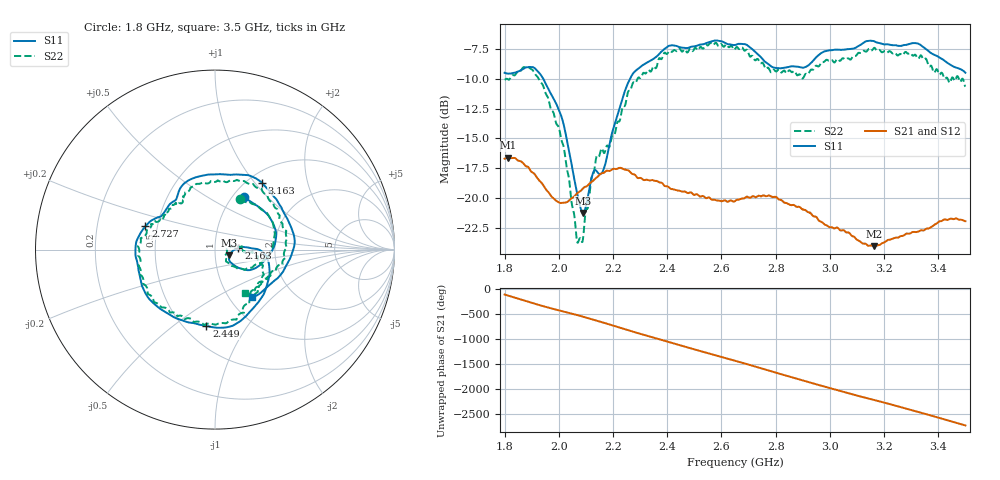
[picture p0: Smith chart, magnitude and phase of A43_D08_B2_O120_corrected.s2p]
! Created with skrf 1.9.0 (http://scikit-rf.org).
# Hz S RI R 50.0
!freq ReS11 ImS11 ReS21 ImS21 ReS12 ImS12 ReS22 ImS22
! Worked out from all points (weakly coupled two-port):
!   1601 points, 1.8 GHz to 3.5 GHz, reference 50 ohm
!   highest |S21| = -16.61 dB at 1.812 GHz (marker M1); lowest = -24.0 dB at 3.162 GHz (marker M2)
!   lowest |S11| = -21.3 dB at 2.09 GHz (marker M3), VSWR 1.19, Z = 58.6 - j3.87 ohm
!   |S11| at or under -10 dB: 1.943 GHz to 2.263 GHz (319.7 MHz wide, 15.2 % of centre)
!   |S22| runs from -23.8 to -7.0 dB; largest |S21 - S12| = 0.0028
!   S11 on the Smith chart (normalised r, x): 1.8 GHz: 1.13, +0.75; 2.163 GHz: 1.30, +0.03; 2.449 GHz: 0.64, -0.67; 2.727 GHz: 0.43, +0.13; 3.163 GHz: 1.15, +1.09; 3.5 GHz: 1.28, -0.76
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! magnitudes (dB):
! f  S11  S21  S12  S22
! 1.8 GHz  -9.5  -16.7  -16.7  -10.1
! 1.812 GHz  -9.6  -16.6  -16.6  -10.0
! 1.886 GHz  -9.0  -17.4  -17.4  -9.0
! 1.941 GHz  -9.9  -18.9  -18.9  -10.5
! 2.013 GHz  -13.4  -20.4  -20.4  -15.3
! 2.066 GHz  -19.4  -19.7  -19.7  -23.4
! 2.084 GHz  -21.1  -19.3  -19.3  -23.6
! 2.09 GHz  -21.3  -19.2  -19.2  -23.3
! 2.133 GHz  -17.7  -18.4  -18.4  -17.4
! 2.163 GHz  -17.7  -17.9  -17.8  -16.1
! 2.26 GHz  -10.1  -17.7  -17.8  -11.0
! 2.367 GHz  -8.0  -18.6  -18.6  -8.4
! 2.449 GHz  -7.4  -19.4  -19.4  -7.6
! 2.65 GHz  -7.2  -20.3  -20.2  -7.5
! 2.727 GHz  -7.8  -19.9  -19.9  -8.4
! 2.799 GHz  -9.1  -19.9  -19.9  -9.3
! 2.934 GHz  -8.6  -21.4  -21.4  -9.2
! 3.162 GHz  -6.8  -24.0  -24.0  -7.4
! 3.163 GHz  -6.8  -24.0  -24.0  -7.4
! 3.217 GHz  -7.1  -23.5  -23.5  -7.7
! 3.325 GHz  -7.0  -22.8  -22.8  -8.3
! 3.5 GHz  -9.5  -21.9  -21.9  -10.6
